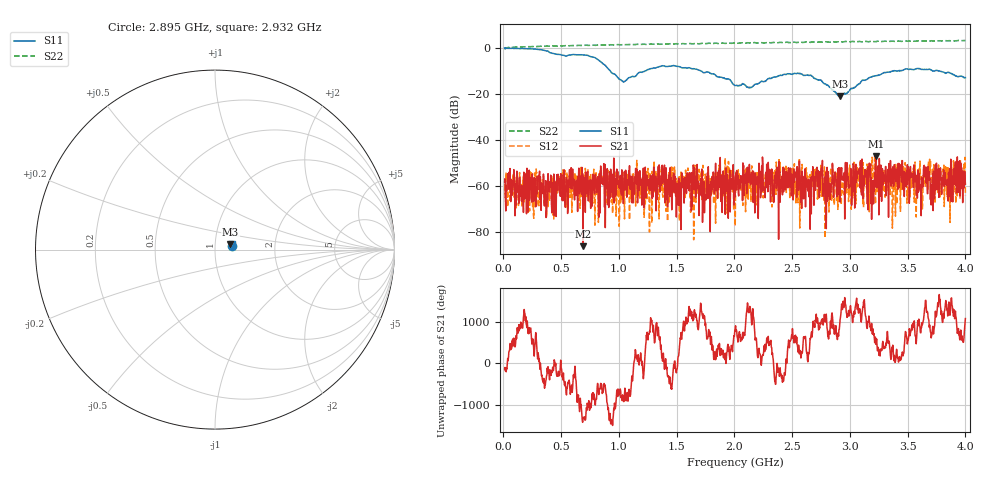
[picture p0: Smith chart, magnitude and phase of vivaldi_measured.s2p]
!Keysight Technologies,P9374A
!Date: Tuesday, April 18, 2023 20:00:51
!Correction: S11(Full 2 Port(1,2))
!S21(Full 2 Port(1,2))
!S12(Full 2 Port(1,2))
!S22(Full 2 Port(1,2))
!S2P File: Measurements: S11, S21, S12, S22:
# Hz S  RI  R 50
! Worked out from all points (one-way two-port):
!   1200 points, 10 MHz to 4 GHz, reference 50 ohm
!   highest |S21| = -47.02 dB at 3.225 GHz (marker M1); lowest = -86.4 dB at 688.9 MHz (marker M2)
!   lowest |S11| = -20.9 dB at 2.912 GHz (marker M3), VSWR 1.20, Z = 59.1 + j3.5 ohm
!   |S11| at or under -10 dB: 926.5 MHz to 1.22 GHz (293.6 MHz wide, 27.4 % of centre); 1.716 GHz to 3.366 GHz (1.65 GHz wide, 64.9 % of centre); 3.781 GHz to end of sweep
!   |S22| runs from -0.2 to 3.4 dB; largest |S21 - S12| = 0.007
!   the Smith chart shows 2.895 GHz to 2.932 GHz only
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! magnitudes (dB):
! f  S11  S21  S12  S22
! 10 MHz  0.1  -58.4  -61.9  0.0
! 302.8 MHz  -0.5  -56.8  -69.3  0.8
! 362.7 MHz  -1.0  -67.5  -60.6  0.9
! 675.6 MHz  -2.9  -60.1  -61.3  1.2
! 688.9 MHz  -2.9  -86.4  -57.4  1.2
! 1.035 GHz  -14.4  -61.6  -54.3  1.6
! 1.341 GHz  -8.2  -51.5  -55.3  1.8
! 1.517 GHz  -7.9  -56.8  -56.2  1.9
! 1.597 GHz  -8.5  -55.2  -52.3  2.0
! 1.634 GHz  -8.9  -68.9  -70.8  1.9
! 1.957 GHz  -13.6  -57.4  -52.3  2.3
! 2.007 GHz  -16.2  -56.5  -77.6  2.4
! 2.672 GHz  -12.2  -56.0  -57.5  2.8
! 2.912 GHz  -20.9  -65.6  -61.9  2.9
! 3.225 GHz  -12.0  -47.0  -53.8  2.9
! 3.338 GHz  -10.3  -50.3  -63.5  2.9
! 3.388 GHz  -9.8  -51.5  -62.0  3.0
! 3.471 GHz  -9.3  -64.7  -60.3  3.2
! 3.657 GHz  -9.3  -51.8  -55.3  3.2
! 3.714 GHz  -9.8  -57.6  -59.8  3.3
! 3.953 GHz  -12.2  -64.4  -65.4  3.4
! 4 GHz  -12.8  -59.3  -64.3  3.4
